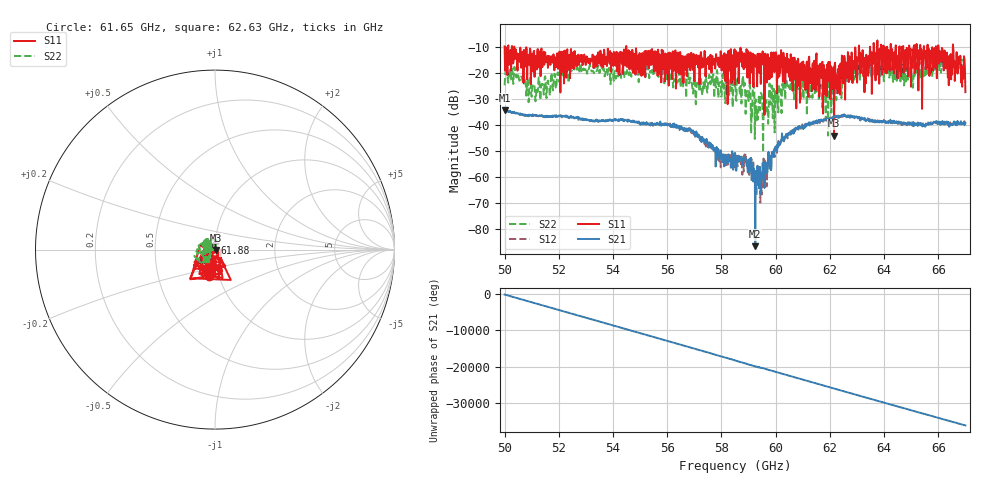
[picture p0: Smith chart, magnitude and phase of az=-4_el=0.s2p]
!Created with skrf (http://scikit-rf.org).
# GHz S RI R 50.0
!freq ReS11 ImS11 ReS21 ImS21 ReS12 ImS12 ReS22 ImS22
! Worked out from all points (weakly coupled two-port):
!   1001 points, 50 GHz to 67 GHz, reference 50 ohm
!   highest |S21| = -34.37 dB at 50 GHz (marker M1); lowest = -86.4 dB at 59.25 GHz (marker M2)
!   lowest |S11| = -44.1 dB at 62.16 GHz (marker M3), VSWR 1.01, Z = 50.6 - j0.165 ohm
!   |S11| at or under -10 dB: 50.36 GHz to 54.49 GHz (4.13 GHz wide, 7.88 % of centre); 54.49 GHz to 63.07 GHz (8.582 GHz wide, 14.6 % of centre); 66 GHz to 66.54 GHz (534 MHz wide, 0.806 % of centre) (the widest 3 of 25)
!   |S22| runs from -50.5 to -13.9 dB; largest |S21 - S12| = 0.0023
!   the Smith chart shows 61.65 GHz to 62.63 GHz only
!   S11 on the Smith chart (normalised r, x): 61.65 GHz: 0.90, -0.27; 61.88 GHz: 0.99, +0.07; 62.63 GHz: 0.94, -0.21
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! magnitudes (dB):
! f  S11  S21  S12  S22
! 50 GHz  -9.9  -34.4  -34.4  -24.8
! 50.42 GHz  -13.5  -35.4  -35.3  -21.6
! 51.07 GHz  -11.8  -36.3  -36.3  -24.3
! 52.84 GHz  -14.1  -37.6  -37.9  -19.4
! 55.68 GHz  -13.3  -39.9  -39.5  -21.6
! 56.87 GHz  -18.2  -41.6  -42.6  -22.6
! 58.5 GHz  -24.5  -50.7  -56.8  -24.9
! 58.92 GHz  -10.9  -55.3  -53.5  -28.3
! 59.25 GHz  -13.3  -86.4  -57.5  -30.7
! 59.45 GHz  -24.2  -66.6  -59.5  -27.6
! 59.61 GHz  -12.7  -56.8  -61.5  -36.3
! 60.32 GHz  -20.1  -45.8  -45.1  -22.7
! 61.34 GHz  -26.9  -39.1  -39.3  -26.3
! 61.65 GHz  -16.5  -38.2  -38.2  -25.3
! 61.88 GHz  -28.9  -37.6  -37.5  -23.6
! 62.16 GHz  -44.1  -36.9  -37.2  -29.5
! 62.63 GHz  -19.0  -36.9  -36.5  -22.8
! 64.18 GHz  -18.6  -38.6  -38.5  -18.4
! 66.08 GHz  -15.2  -38.8  -39.0  -15.7
! 66.42 GHz  -14.8  -39.7  -39.3  -16.2
! 66.75 GHz  -17.0  -39.6  -39.5  -18.6
! 67 GHz  -27.4  -39.2  -39.9  -16.0
